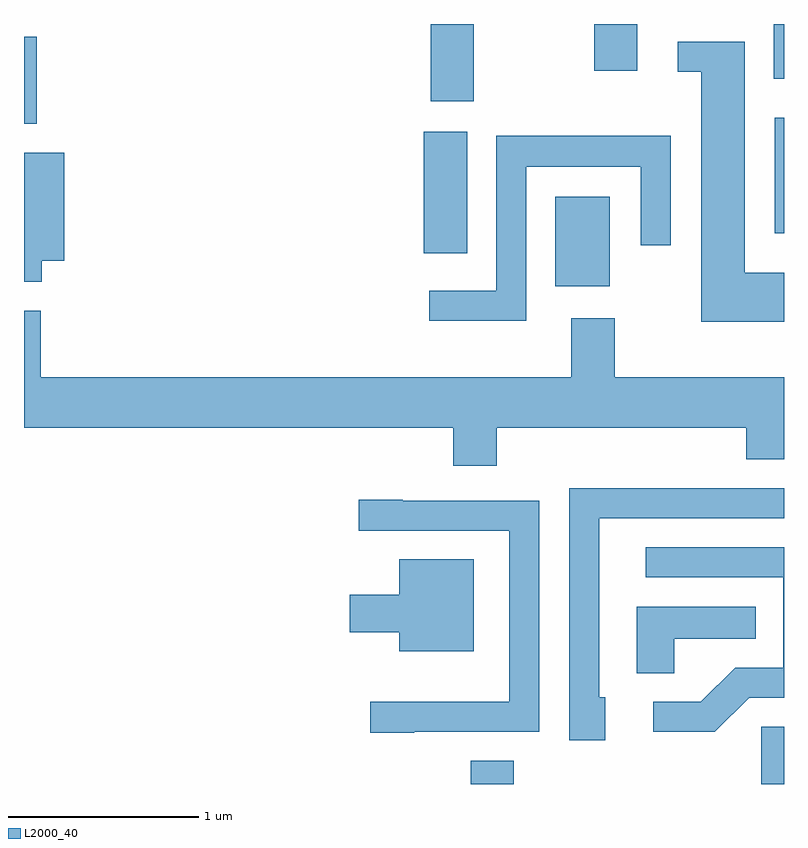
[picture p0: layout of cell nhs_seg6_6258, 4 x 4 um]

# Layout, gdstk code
import gdstk
lib = gdstk.Library(unit=1e-6, precision=1e-09)
def R(c, l, rs):  # rectangles x0, y0, x1, y1
    for r in rs: c.add(gdstk.rectangle(r[:2], r[2:], *l))
def P(c, l, *ps):  # polygons
    for p in ps: c.add(gdstk.Polygon(p, *l))
L2000_40 = (2000, 40)

nhs_seg6_6258 = lib.new_cell('nhs_seg6_6258')
R(nhs_seg6_6258, L2000_40, [(377.961,1548.162,378.189,1548.284), (379.491,1548.162,379.611,1548.464), (378.406,1550.781,378.694,1551.254), (377.716,1550.956,377.944,1551.594), (379.561,1551.061,379.611,1551.669), (375.611,1551.636,375.679,1552.094), (377.751,1551.756,377.979,1552.162), (379.556,1551.873,379.611,1552.162), (378.611,1551.916,378.839,1552.162)])
P(nhs_seg6_6258, L2000_40, [(379.611,1550.854),(379.404,1550.854),(379.404,1552.069),(379.053,1552.069),(379.053,1551.911),(379.176,1551.911),(379.176,1550.596),(379.611,1550.596)],
  [(378.254,1551.411),(378.856,1551.411),(378.856,1550.998),(379.014,1550.998),(379.014,1551.574),(378.096,1551.574),(378.096,1550.759),(377.743,1550.759),(377.743,1550.601),(378.254,1550.601)],
  [(375.704,1550.916),(375.824,1550.916),(375.824,1551.484),(375.611,1551.484),(375.611,1550.806),(375.704,1550.806)],
  [(378.099,1550.036),(379.411,1550.036),(379.411,1549.871),(379.611,1549.871),(379.611,1550.304),(378.719,1550.304),(378.719,1550.614),(378.491,1550.614),(378.491,1550.304),(375.699,1550.304),(375.699,1550.654),(375.611,1550.654),(375.611,1550.036),(377.871,1550.036),(377.871,1549.836),(378.099,1549.836)],
  [(378.669,1548.619),(378.639,1548.619),(378.639,1549.561),(379.611,1549.561),(379.611,1549.719),(378.481,1549.719),(378.481,1548.391),(378.669,1548.391)],
  [(377.665,1548.436),(378.324,1548.436),(378.324,1549.654),(377.605,1549.654),(377.605,1549.659),(377.373,1549.659),(377.373,1549.496),(378.166,1549.496),(378.166,1548.594),(377.433,1548.594),(377.433,1548.431),(377.665,1548.431)],
  [(379.427,1548.616),(379.611,1548.616),(379.611,1549.409),(378.883,1549.409),(378.883,1549.251),(379.606,1549.251),(379.606,1548.774),(379.354,1548.774),(379.174,1548.594),(378.923,1548.594),(378.923,1548.436),(379.247,1548.436)],
  [(377.979,1549.344),(377.586,1549.344),(377.586,1549.159),(377.326,1549.159),(377.326,1548.961),(377.586,1548.961),(377.586,1548.861),(377.979,1548.861)],
  [(379.034,1548.926),(379.463,1548.926),(379.463,1549.094),(378.836,1549.094),(378.836,1548.746),(379.034,1548.746)])

lib.write_gds('nhs_seg6_6258.gds')
